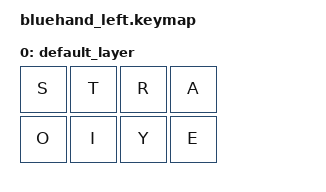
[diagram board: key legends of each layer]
/*
 * Copyright (c) 2021 Mike "KemoNine" Crosson
 *
 * SPDX-License-Identifier: MIT
 */

#include <behaviors.dtsi>
#include <dt-bindings/zmk/keys.h>
#include <dt-bindings/zmk/bt.h>

// THE BOARD IS FLIPPED FOR LEFT BUT STILL WIRED RIGHT!
#define ARDUX_LEFT 1

// ARTS Row
#define KEY_A 3
#define KEY_R 2
#define KEY_T 1
#define KEY_S 0
// EYIO Row
#define KEY_E 7
#define KEY_Y 6
#define KEY_I 5
#define KEY_O 4

// Define Offsets
#define LEADING_NONES NONE(0, 0, 0)
#define MIDDLE_NONES NONE(0, 0, 0)
#define TRAILING_NONES NONE(0, 0, 0)

// Include main ardux.io keymap
#include "../../../ardux.dtsi"

/ {
    keymap {
        compatible = "zmk,keymap";

        default_layer {
            bindings = <
                &kp S      &kp T      &kp R      &kp A
                &kp O      &kp I      &kp Y      &kp E
            >;
        };
    };
};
